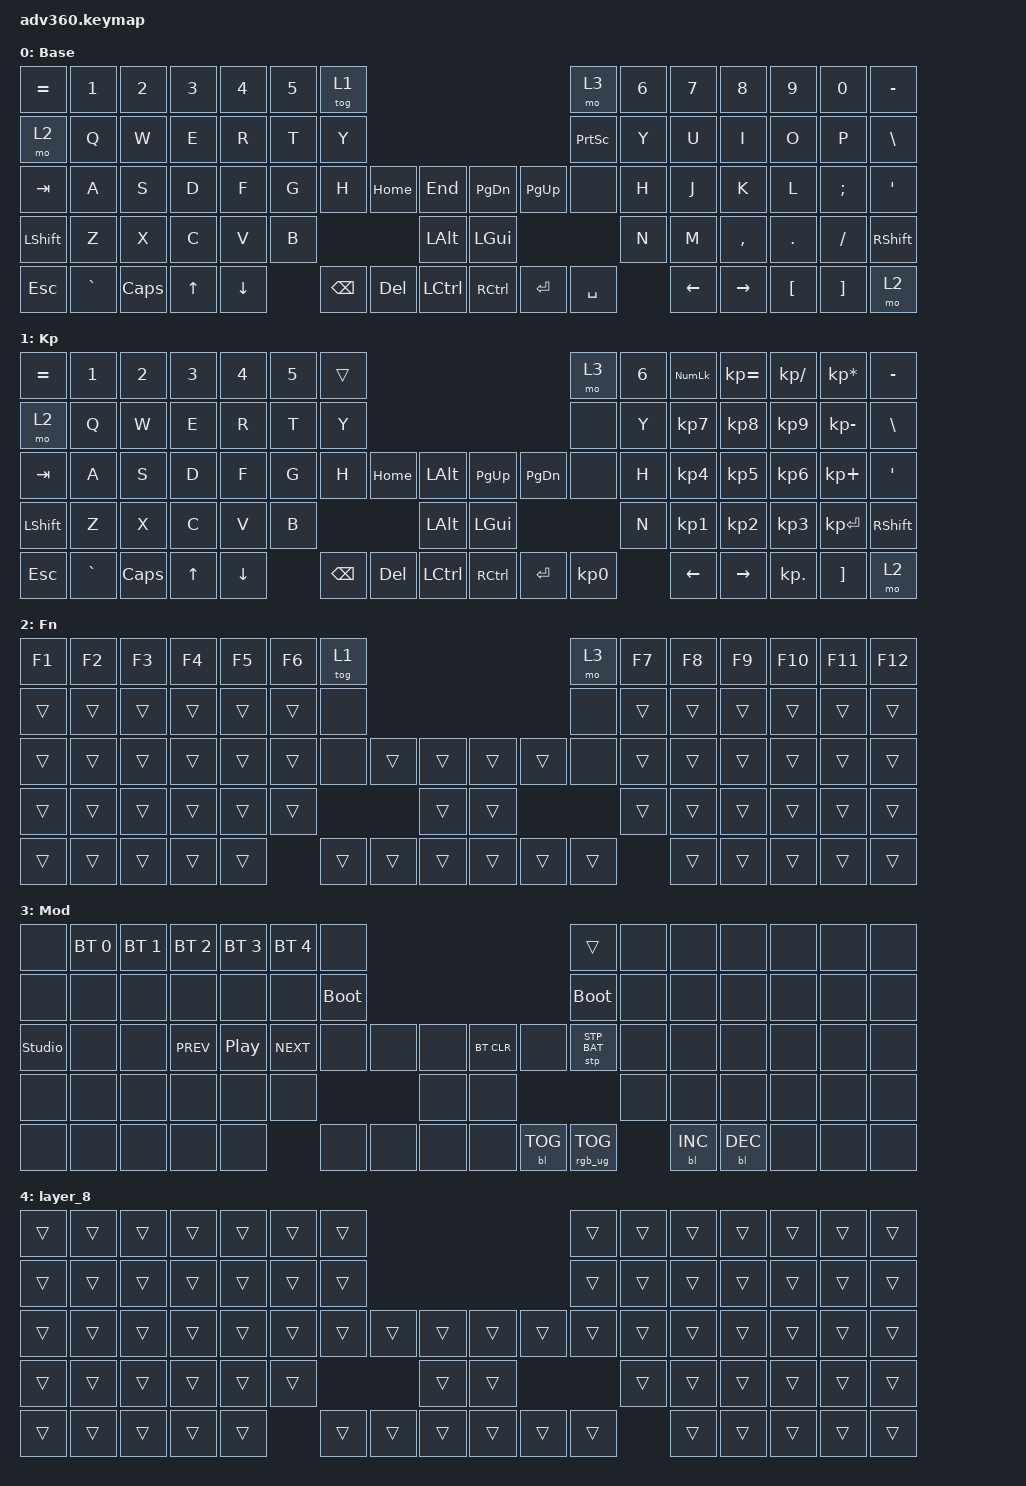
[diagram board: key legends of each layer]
#include <dt-bindings/zmk/stp.h>
#include <behaviors.dtsi>
#include <dt-bindings/zmk/backlight.h>
#include <dt-bindings/zmk/bt.h>
#include <dt-bindings/zmk/keys.h>
#include <dt-bindings/zmk/rgb.h>

/ {
    behaviors {
        #include "macros.dtsi"
      #include "version.dtsi"

        hm: homerow_mods {
            compatible = "zmk,behavior-hold-tap";
            label = "HOMEROW_MODS";
            #binding-cells = <2>;
            tapping-term-ms = <200>;
            quick_tap_ms = <175>;
            flavor = "tap-preferred";
            bindings = <&kp>, <&kp>;
        };
    };

    keymap {
        compatible = "zmk,keymap";

        default_layer {
            display-name = "Base";
            bindings = <
&kp EQUAL  &kp N1     &kp N2    &kp N3        &kp N4          &kp N5  &tog 1                                                   &mo 3            &kp N6  &kp N7          &kp N8           &kp N9    &kp N0    &kp MINUS
&mo 2      &kp Q      &kp W     &kp E         &kp R           &kp T   &kp Y                                                    &kp PRINTSCREEN  &kp Y   &kp U           &kp I            &kp O     &kp P     &kp BSLH
&kp TAB    &kp A      &kp S     &kp D         &kp F           &kp G   &kp H     &kp HOME  &kp END        &kp PG_DN  &kp PG_UP  &none            &kp H   &kp J           &kp K            &kp L     &kp SEMI  &kp SQT
&kp LSHFT  &kp Z      &kp X     &kp C         &kp V           &kp B                       &kp LALT       &kp LGUI                               &kp N   &kp M           &kp COMMA        &kp DOT   &kp FSLH  &kp RSHFT
&kp ESC    &kp GRAVE  &kp CAPS  &kp UP_ARROW  &kp DOWN_ARROW          &kp BSPC  &kp DEL   &kp LCTRL      &kp RCTRL  &kp ENTER  &kp SPACE                &kp LEFT_ARROW  &kp RIGHT_ARROW  &kp LBKT  &kp RBKT  &mo 2
            >;
        };

        keypad {
            display-name = "Kp";
            bindings = <
&kp EQUAL  &kp N1     &kp N2    &kp N3        &kp N4          &kp N5  &trans                                                   &mo 3      &kp N6  &kp KP_NUM      &kp KP_EQUAL     &kp KP_DIVIDE  &kp KP_MULTIPLY  &kp MINUS
&mo 2      &kp Q      &kp W     &kp E         &kp R           &kp T   &kp Y                                                    &none      &kp Y   &kp KP_N7       &kp KP_N8        &kp KP_N9      &kp KP_MINUS     &kp BSLH
&kp TAB    &kp A      &kp S     &kp D         &kp F           &kp G   &kp H     &kp HOME  &kp LALT       &kp PG_UP  &kp PG_DN  &none      &kp H   &kp KP_N4       &kp KP_N5        &kp KP_N6      &kp KP_PLUS      &kp SQT
&kp LSHFT  &kp Z      &kp X     &kp C         &kp V           &kp B                       &kp LALT       &kp LGUI                         &kp N   &kp KP_N1       &kp KP_N2        &kp KP_N3      &kp KP_ENTER     &kp RSHFT
&kp ESC    &kp GRAVE  &kp CAPS  &kp UP_ARROW  &kp DOWN_ARROW          &kp BSPC  &kp DEL   &kp LCTRL      &kp RCTRL  &kp ENTER  &kp KP_N0          &kp LEFT_ARROW  &kp RIGHT_ARROW  &kp KP_DOT     &kp RBKT         &mo 2
            >;
        };

        fn {
            display-name = "Fn";
            bindings = <
&kp F1  &kp F2  &kp F3  &kp F4  &kp F5  &kp F6  &tog 1                                      &mo 3   &kp F7  &kp F8  &kp F9  &kp F10  &kp F11  &kp F12
&trans  &trans  &trans  &trans  &trans  &trans  &none                                       &none   &trans  &trans  &trans  &trans   &trans   &trans
&trans  &trans  &trans  &trans  &trans  &trans  &none   &trans  &trans      &trans  &trans  &none   &trans  &trans  &trans  &trans   &trans   &trans
&trans  &trans  &trans  &trans  &trans  &trans                  &trans      &trans                  &trans  &trans  &trans  &trans   &trans   &trans
&trans  &trans  &trans  &trans  &trans          &trans  &trans  &trans      &trans  &trans  &trans          &trans  &trans  &trans   &trans   &trans
            >;
        };

        mod {
            display-name = "Mod";
            bindings = <
&none           &bt BT_SEL 0  &bt BT_SEL 1  &bt BT_SEL 2  &bt BT_SEL 3  &bt BT_SEL 4  &none                                                  &trans           &none  &none       &none       &none  &none  &none
&none           &none         &none         &none         &none         &none         &bootloader                                            &bootloader      &none  &none       &none       &none  &none  &none
&studio_unlock  &none         &none         &kp C_PREV    &kp C_PP      &kp C_NEXT    &none        &none  &none      &bt BT_CLR  &none       &stp STP_BAT     &none  &none       &none       &none  &none  &none
&none           &none         &none         &none         &none         &none                             &none      &none                                    &none  &none       &none       &none  &none  &none
&none           &none         &none         &none         &none                       &none        &none  &none      &none       &bl BL_TOG  &rgb_ug RGB_TOG         &bl BL_INC  &bl BL_DEC  &none  &none  &none
            >;
        };

        extra1 {
            display-name = "Red";
            status = "reserved";
        };

        extra2 {
            display-name = "Purple";
            status = "reserved";
        };

        extra3 {
            display-name = "Cyan";
            status = "reserved";
        };

        extra4 {
            display-name = "Yellow";
            status = "reserved";
        };

        layer_8 {
            bindings = <
&trans  &trans  &trans  &trans  &trans  &trans  &trans                                      &trans  &trans  &trans  &trans  &trans  &trans  &trans
&trans  &trans  &trans  &trans  &trans  &trans  &trans                                      &trans  &trans  &trans  &trans  &trans  &trans  &trans
&trans  &trans  &trans  &trans  &trans  &trans  &trans  &trans  &trans      &trans  &trans  &trans  &trans  &trans  &trans  &trans  &trans  &trans
&trans  &trans  &trans  &trans  &trans  &trans                  &trans      &trans                  &trans  &trans  &trans  &trans  &trans  &trans
&trans  &trans  &trans  &trans  &trans          &trans  &trans  &trans      &trans  &trans  &trans          &trans  &trans  &trans  &trans  &trans
            >;
        };
    };
};
